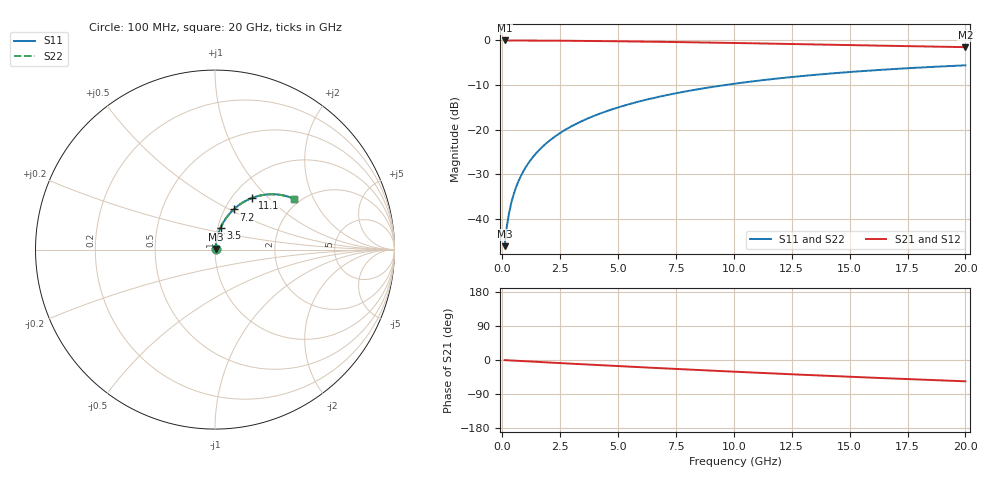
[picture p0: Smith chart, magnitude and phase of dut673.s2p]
! Touchstone file exported from HFSS 2026.1.0
!  File:  C:/ffzhzh/LocalFiles/Ansys_Project_Files/temp_train_BSMRDL_673_1783017374_51716.aedt
!  Generated:  02:37:49 AM Jul  3, 2026
!  Design:  BSMRDL
!  Project:  temp_train_BSMRDL_673_1783017374_51716
! Variables:
!  h_bsmrdl = 5.78um
!  h_ox = 20um
!  h_rdl = 5um
!  h_sub = 80um
!  h_tmrdl = 5um
!  h_tsv = 80um
!  h_via = 3um
!  l_bsmrdl = 850.8um
!  l_sub = 1250.8um
!  l_tmrdl = 200um
!  m_sub = 200um
!  pitch = 53.59um
!  r_tsv = 6um
!  s_tmrdl = 10um
!  w_bsmrdl = 17.74um
!  w_sub = 500um
!  w_tmrdl = 12um
!  x_tsv_center1 = 206um
!  x_tsv_center2 = 1074.54um
!  x_tsv_center3 = 1286.54um
!  x_tsv_center4 = 2155.08um
!  x_tsv_center5 = 2367.08um
!  x_tsv_center6 = 3235.62um
# GHz S MA R 50.000000
! Terminal data exported
! Port[1] = BSM_RDL1_1_T1
! Port[2] = BSM_RDL1_1_T2
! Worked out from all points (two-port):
!   200 points, 100 MHz to 20 GHz, reference 50 ohm
!   highest |S21| = -0.03 dB at 100 MHz (marker M1); lowest = -1.5 dB at 20 GHz (marker M2)
!   |S21| within 3 dB of the highest: start of sweep to end of sweep
!   lowest |S11| = -46.1 dB at 100 MHz (marker M3), VSWR 1.01, Z = 50.3 + j0.392 ohm
!   |S11| at or under -10 dB: start of sweep to 9.63 GHz
!   |S22| runs from -46.1 to -5.6 dB; largest |S21 - S12| = 1.4e-14
!   S11 on the Smith chart (normalised r, x): 100 MHz: 1.01, +0.01; 3.5 GHz: 1.03, +0.26; 7.2 GHz: 1.10, +0.52; 11.1 GHz: 1.23, +0.81; 20 GHz: 1.86, +1.45
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0.1  0.004957 51.8  0.997 -0.3  0.997 -0.3  0.004957 51.8
! Gamma 0 0 0 0
! Port Impedance 50 0 50 0
0.2  0.008369 67.0  0.9968 -0.7  0.9968 -0.7  0.008369 67.0
0.3  0.01196 72.9  0.9966 -1.0  0.9966 -1.0  0.01196 72.9
0.4  0.01558 76.0  0.9965 -1.3  0.9965 -1.3  0.01558 76.0
0.5  0.01922 77.8  0.9963 -1.7  0.9963 -1.7  0.01922 77.8
0.7  0.02653 79.7  0.996 -2.3  0.996 -2.3  0.02653 79.7
1  0.03753 80.8  0.9955 -3.3  0.9955 -3.3  0.03753 80.8
1.4  0.05217 80.8  0.9945 -4.6  0.9945 -4.6  0.05217 80.8
1.7  0.06309 80.4  0.9936 -5.6  0.9936 -5.6  0.06309 80.4
2  0.07394 79.7  0.9925 -6.6  0.9925 -6.6  0.07394 79.7
2.7  0.09892 78.0  0.9896 -8.8  0.9896 -8.8  0.09892 78.0
3.5  0.1268 75.7  0.9855 -11.4  0.9855 -11.4  0.1268 75.7
4.2  0.1507 73.7  0.9814 -13.6  0.9814 -13.6  0.1507 73.7
5  0.1773 71.4  0.9763 -16.0  0.9763 -16.0  0.1773 71.4
6.8  0.2344 66.2  0.9629 -21.5  0.9629 -21.5  0.2344 66.2
7.2  0.2466 65.1  0.9596 -22.7  0.9596 -22.7  0.2466 65.1
8.6  0.2877 61.1  0.9475 -26.8  0.9475 -26.8  0.2877 61.1
10.1  0.3288 57.0  0.9335 -31.1  0.9335 -31.1  0.3288 57.0
11.1  0.3546 54.3  0.9238 -33.9  0.9238 -33.9  0.3546 54.3
13.4  0.4086 48.3  0.901 -40.1  0.901 -40.1  0.4086 48.3
16.7  0.4736 40.1  0.8686 -48.4  0.8686 -48.4  0.4736 40.1
20  0.525 32.5  0.8389 -56.2  0.8389 -56.2  0.525 32.5
